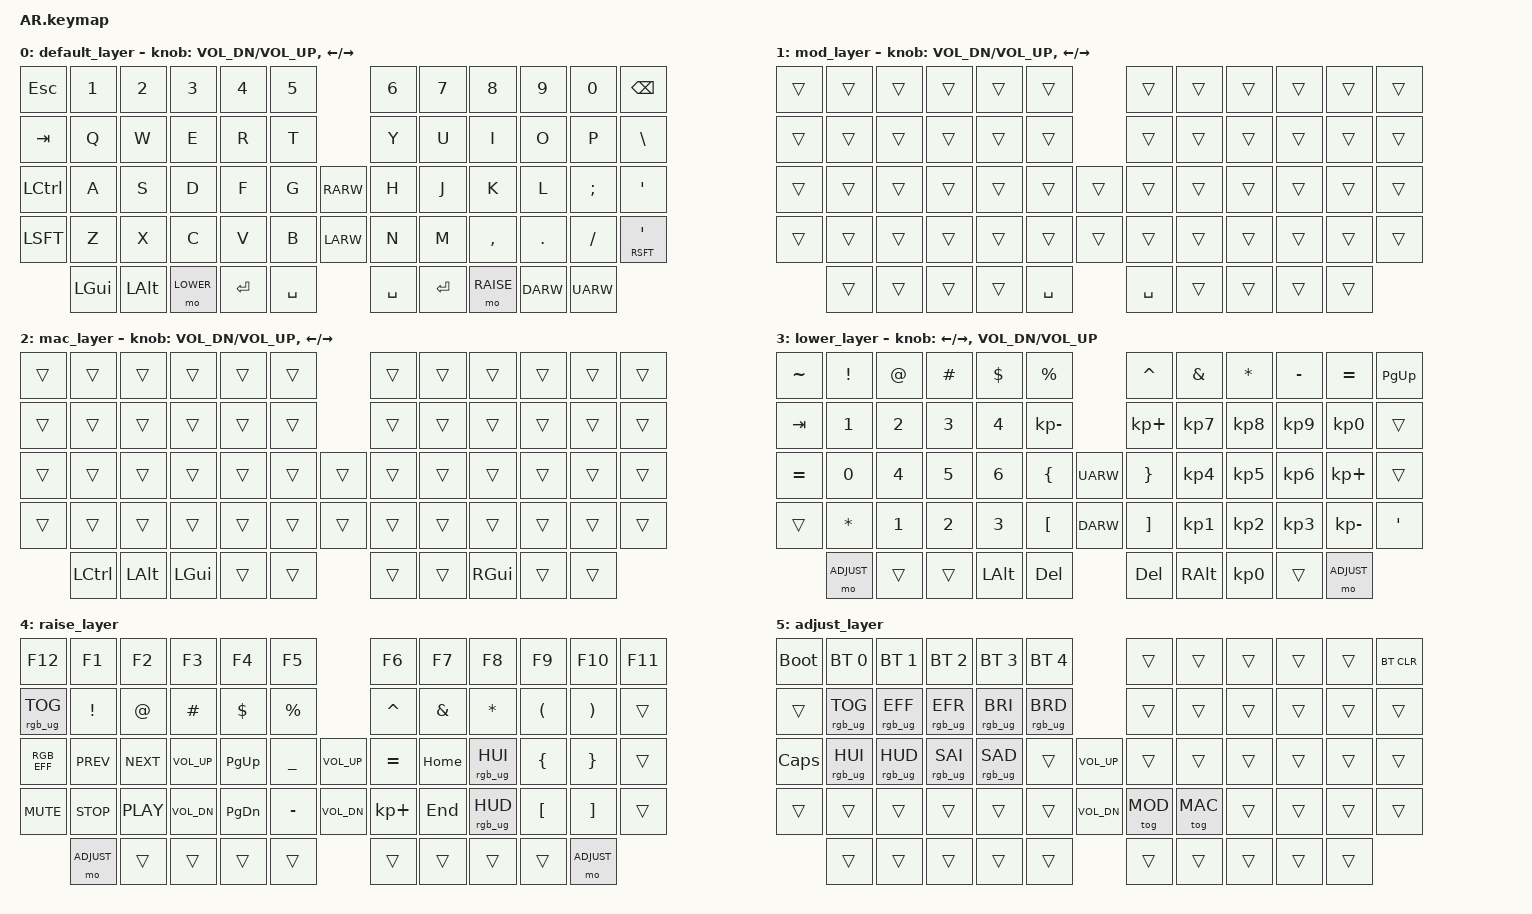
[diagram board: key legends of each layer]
/*
 * Copyright (c) 2020 dELLIKEEb
 *
 * SPDX-License-Identifier: MIT
 */

#include <behaviors.dtsi>
#include <dt-bindings/zmk/keys.h>
#include <dt-bindings/zmk/bt.h>
#include <dt-bindings/zmk/rgb.h>

// custom keycode defs for easier access
#define DEFAULT 0
#define MOD     1
#define MAC     2
#define LOWER   3
#define RAISE   4
#define ADJUST  5

// / {
//     behaviors {
//         hm: homerow_mods {
//             compatible = "zmk,behavior-hold-tap";
//             label = "homerow mods";
//             #binding-cells = <2>;
//             tapping_term_ms = <225>;
//             flavor = "tap-preferred";
//             bindings = <&kp>, <&kp>;
//         };
//     };
// };

// BASE
// -------------------------------------------               -------------------------------------------
// |   `  |   1  |   2  |   3  |   4  |   5  |               |   6  |   7  |   8  |   9  |   0  | Bksp |
// -------------------------------------------               -------------------------------------------
// | Tab  |   Q  |   W  |   E  |   R  |   T  |               |   Y  |   U  |   I  |   O  |   P  | Del  |
// -------------------------------------------   ---------  --------------------------------------------
// | Esc  |   A  |   S  |   D  |   F  |   G  |   | Right |   |   H  |   J  |   K  |   L  |   ;  |Enter |
// -------------------------------------------   ---------   -------------------------------------------
// | Shift|   Z  |   X  |   C  |   V  |   B  |   | LEFT  |   |   N  |   M  |   ,  |   .  |   /  | "    |
// -------------------------------------------   ---------   -------------------------------------------
//        | Ctrl | GUI  |  Alt |Lower |Space |               |Space |Raise |Alt   | DOWN | UP   |
//        ------------------------------------               ------------------------------------
// 

/ {
    keymap {
        compatible = "zmk,keymap";

        default_layer {
            bindings = <
                &kp ESC     &kp N1      &kp N2      &kp N3      &kp N4    &kp N5                    &kp N6      &kp N7      &kp N8      &kp N9      &kp N0      &kp BKSP
                &kp TAB     &kp Q       &kp W       &kp E       &kp R     &kp T                     &kp Y       &kp U       &kp I       &kp O       &kp P       &kp BSLH
                &kp LCTL    &kp A       &kp S       &kp D       &kp F     &kp G         &kp RARW    &kp H       &kp J       &kp K       &kp L       &kp SCLN    &kp SQT
                &kp LSFT    &kp Z       &kp X       &kp C       &kp V     &kp B         &kp LARW    &kp N       &kp M       &kp CMMA    &kp DOT     &kp FSLH    &mt RSFT SQT
                            &kp LGUI    &kp LALT    &mo LOWER   &kp ENTER &kp SPC                   &kp SPC     &kp ENTER   &mo RAISE   &kp DARW    &kp UARW
            >;
            sensor-bindings = <&inc_dec_kp C_VOL_DN C_VOL_UP &inc_dec_kp LEFT RIGHT>;
        };

        mod_layer {
            bindings = <
                &trans      &trans      &trans      &trans      &trans      &trans                  &trans      &trans      &trans      &trans      &trans      &trans  
                &trans      &trans      &trans      &trans      &trans      &trans                  &trans      &trans      &trans      &trans      &trans      &trans
                &trans      &trans      &trans      &trans      &trans      &trans      &trans      &trans      &trans      &trans      &trans      &trans      &trans
                &trans      &trans      &trans      &trans      &trans      &trans      &trans      &trans      &trans      &trans      &trans      &trans      &trans 
                            &trans      &trans      &trans      &trans      &kp SPC                 &kp SPC     &trans      &trans      &trans      &trans
            >;
            sensor-bindings = <&inc_dec_kp C_VOL_DN C_VOL_UP &inc_dec_kp LEFT RIGHT>;
        };

        mac_layer {
            bindings = <
                &trans      &trans      &trans      &trans      &trans      &trans                  &trans      &trans      &trans      &trans      &trans      &trans  
                &trans      &trans      &trans      &trans      &trans      &trans                  &trans      &trans      &trans      &trans      &trans      &trans
                &trans      &trans      &trans      &trans      &trans      &trans      &trans      &trans      &trans      &trans      &trans      &trans      &trans
                &trans      &trans      &trans      &trans      &trans      &trans      &trans      &trans      &trans      &trans      &trans      &trans      &trans 
                            &kp LCTL    &kp LALT    &kp LGUI    &trans      &trans                  &trans      &trans      &kp RGUI    &trans      &trans
            >;
            sensor-bindings = <&inc_dec_kp C_VOL_DN C_VOL_UP &inc_dec_kp LEFT RIGHT>;
        };

        lower_layer {
            bindings = <
                &kp TILDE   &kp EXCL    &kp AT      &kp POUND   &kp DLLR    &kp PRCNT               &kp CARET   &kp AMPS    &kp STAR    &kp MINUS   &kp EQUAL     &kp PG_UP  
                &kp TAB     &kp N1      &kp N2      &kp N3      &kp N4      &kp KP_MINUS            &kp KP_PLUS &kp KP_N7   &kp KP_N8   &kp KP_N9   &kp KP_N0     &trans
                &kp EQUAL   &kp NUM_0   &kp NUM_4   &kp NUM_5   &kp NUM_6   &kp LBRC    &kp UARW    &kp RBRC    &kp KP_N4   &kp KP_N5   &kp KP_N6   &kp KP_PLUS   &trans
                &trans      &kp STAR    &kp NUM_1   &kp NUM_2   &kp NUM_3   &kp LBKT    &kp DARW    &kp RBKT    &kp KP_N1   &kp KP_N2   &kp KP_N3   &kp KP_MINUS  &kp SQT
                            &mo ADJUST  &trans      &trans      &kp LALT    &kp DEL                 &kp DEL     &kp RALT    &kp KP_N0   &trans      &mo ADJUST
            >;
            sensor-bindings = <&inc_dec_kp LEFT RIGHT &inc_dec_kp C_VOL_DN C_VOL_UP>;
        };

        raise_layer {
            bindings = <
                &kp F12              &kp F1      &kp F2      &kp F3            &kp F4      &kp F5                      &kp F6      &kp F7      &kp F8             &kp F9      &kp F10     &kp F11  
                &rgb_ug RGB_TOG      &kp EXCL    &kp AT      &kp POUND         &kp DLLR    &kp PRCNT                   &kp CARET   &kp AMPS    &kp STAR           &kp LPAR    &kp RPAR    &trans
                &kp RGB_EFF          &kp C_PREV  &kp C_NEXT  &kp C_VOL_UP      &kp PG_UP   &kp UNDER     &kp C_VOL_UP  &kp EQUAL   &kp HOME    &rgb_ug RGB_HUI    &kp LBRC    &kp RBRC    &trans 
                &kp C_MUTE           &kp C_STOP  &kp C_PLAY  &kp C_VOL_DN      &kp PG_DN   &kp MINUS     &kp C_VOL_DN  &kp KP_PLUS &kp END     &rgb_ug RGB_HUD    &kp LBKT    &kp RBKT    &trans
                                     &mo ADJUST  &trans      &trans            &trans      &trans                      &trans      &trans      &trans             &trans      &mo ADJUST
            >;
            
        };
        
        adjust_layer {
            bindings = <
                &bootloader &bt BT_SEL 0    &bt BT_SEL 1    &bt BT_SEL 2    &bt BT_SEL 3    &bt BT_SEL 4                    &trans      &trans      &trans      &trans      &trans      &bt BT_CLR        
                &trans      &rgb_ug RGB_TOG &rgb_ug RGB_EFF &rgb_ug RGB_EFR &rgb_ug RGB_BRI &rgb_ug RGB_BRD                 &trans      &trans      &trans      &trans      &trans      &trans
                &kp CAPS    &rgb_ug RGB_HUI &rgb_ug RGB_HUD &rgb_ug RGB_SAI &rgb_ug RGB_SAD &trans          &kp C_VOL_UP    &trans      &trans      &trans      &trans      &trans      &trans  
                &trans      &trans          &trans          &trans          &trans          &trans          &kp C_VOL_DN    &tog MOD    &tog MAC    &trans      &trans      &trans      &trans  
                            &trans          &trans          &trans          &trans          &trans                          &trans      &trans      &trans      &trans      &trans
            >;
        };

    };
};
